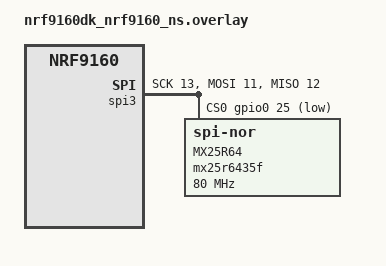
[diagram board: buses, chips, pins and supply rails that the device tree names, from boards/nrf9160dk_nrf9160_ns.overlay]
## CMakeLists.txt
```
#
# Copyright (c) 2021 Nordic Semiconductor ASA
#
# SPDX-License-Identifier: LicenseRef-Nordic-5-Clause
#

cmake_minimum_required(VERSION 3.20.0)

find_package(Zephyr REQUIRED HINTS $ENV{ZEPHYR_BASE})
project(full_modem_update)

# NORDIC SDK APP START
target_sources(app PRIVATE src/main.c)
target_sources(app PRIVATE ../common/src/update.c)
target_include_directories(app PRIVATE ../common/include)
# NORDIC SDK APP END
```

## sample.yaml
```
sample:
  name: HTTP full modem update sample
tests:
  samples.nrf9160.http_update.full_modem_update:
    build_only: true
    platform_allow: nrf9160dk_nrf9160_ns
    integration_platforms:
      - nrf9160dk_nrf9160_ns
    tags: ci_build
```

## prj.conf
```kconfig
#
# Copyright (c) 2021 Nordic Semiconductor ASA
#
# SPDX-License-Identifier: LicenseRef-Nordic-5-Clause
#
# General config
CONFIG_NCS_SAMPLES_DEFAULTS=y
CONFIG_REBOOT=y
CONFIG_NEWLIB_LIBC=y

# Network
CONFIG_NETWORKING=y
CONFIG_NET_SOCKETS=y
CONFIG_NET_NATIVE=n

# LTE link control
CONFIG_LTE_LINK_CONTROL=y
CONFIG_LTE_AUTO_INIT_AND_CONNECT=n

# libmodem
CONFIG_NRF_MODEM_LIB=y
CONFIG_NRF_MODEM_LIB_SYS_INIT=n

# Library for buttons and LEDs
CONFIG_DK_LIBRARY=y
CONFIG_DK_LIBRARY_INVERT_LEDS=n

# Heap and stacks
CONFIG_HEAP_MEM_POOL_SIZE=2048
CONFIG_MAIN_STACK_SIZE=8192
CONFIG_SYSTEM_WORKQUEUE_STACK_SIZE=2048

# Stream flash
CONFIG_STREAM_FLASH=y
CONFIG_STREAM_FLASH_ERASE=y
CONFIG_FLASH=y

# GPIO
CONFIG_GPIO=y

# FOTA library
CONFIG_FOTA_DOWNLOAD=y

# Download client
CONFIG_DOWNLOAD_CLIENT=y
CONFIG_DOWNLOAD_CLIENT_STACK_SIZE=4096

# DFU Target
CONFIG_DFU_TARGET=y
CONFIG_DFU_TARGET_STREAM=y
CONFIG_DFU_TARGET_FULL_MODEM=y

# Full modem firmware from external flash support
CONFIG_FMFU_FDEV=y
CONFIG_CDDL_GEN=y

# Modem key management
CONFIG_MODEM_KEY_MGMT=y

# Modem info is used to read the current version
CONFIG_MODEM_INFO=y

# Crypto
CONFIG_OBERON_BACKEND=y
CONFIG_NORDIC_SECURITY_BACKEND=y
# Disable all non-used crypto
CONFIG_NRF_SECURITY_RNG=n
CONFIG_MBEDTLS_AES_C=n
CONFIG_MBEDTLS_CHACHA20_C=n
CONFIG_MBEDTLS_POLY1305_C=n
CONFIG_MBEDTLS_ECP_C=n
CONFIG_MBEDTLS_RSA_C=n
CONFIG_MBEDTLS_DHM_C=n
CONFIG_MBEDTLS_SHA1_C=n
CONFIG_MBEDTLS_SHA384_C=n
CONFIG_MBEDTLS_SHA512_C=n
CONFIG_MBEDTLS_GCM_C=n
# This is the one we need
CONFIG_MBEDTLS_SHA256_C=y

CONFIG_DOWNLOAD_HOST="nrfconnectsdk.s3.eu-central-1.amazonaws.com"
CONFIG_DOWNLOAD_MODEM_0_FILE="fmfu_1.3.0.bin"
CONFIG_DOWNLOAD_MODEM_0_VERSION="mfw_nrf9160_1.3.0"

CONFIG_DOWNLOAD_MODEM_1_FILE="fmfu_1.3.1.bin"

# Prevalidation is not yet supported by the modem firmware, so skip it for now.
CONFIG_FMFU_FDEV_SKIP_PREVALIDATION=y
```

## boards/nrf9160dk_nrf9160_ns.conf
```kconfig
# Copyright (c) 2021 Nordic Semiconductor ASA
#
# SPDX-License-Identifier: LicenseRef-Nordic-5-Clause
#

CONFIG_SPI=y
CONFIG_SPI_NOR=y
```

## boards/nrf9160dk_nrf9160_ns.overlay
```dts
/*
 * Copyright (c) 2021 Nordic Semiconductor ASA
 *
 * SPDX-License-Identifier: LicenseRef-Nordic-5-Clause
 */

&spi3 {
	compatible = "nordic,nrf-spim";
	status = "okay";
	sck-pin = <13>;
	mosi-pin = <11>;
	miso-pin = <12>;
	cs-gpios = <&gpio0 25 GPIO_ACTIVE_LOW>;
	mx25r64: mx25r6435f@0 {
		compatible = "jedec,spi-nor";
		reg = <0>;
		spi-max-frequency = <80000000>;
		label = "MX25R64";
		jedec-id = [c2 28 17];
		size = <67108864>;
	};
};
```

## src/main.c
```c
/*
 * Copyright (c) 2021 Nordic Semiconductor ASA
 *
 * SPDX-License-Identifier: LicenseRef-Nordic-5-Clause
 */

#include <zephyr.h>
#include <modem/nrf_modem_lib.h>
#include <dfu/dfu_target_full_modem.h>
#include <net/fota_download.h>
#include <nrf_modem_full_dfu.h>
#include <modem/modem_info.h>
#include <dfu/fmfu_fdev.h>
#include <drivers/gpio.h>
#include <stdio.h>
#include <string.h>
#include <update.h>

/* We assume that modem version strings (not UUID) will not be more than this */
#define MAX_MODEM_VERSION_LEN 256
#define EXT_FLASH_DEVICE DT_LABEL(DT_INST(0, jedec_spi_nor))
#define SW1_PIN (DT_GPIO_PIN(DT_ALIAS(sw1), gpios))
#define SW1_FLAGS (DT_GPIO_FLAGS(DT_ALIAS(sw1), gpios))

static struct k_work fmfu_work;
static const struct device *gpiob;
static struct gpio_callback gpio_cb;
static const struct device *flash_dev;
static char modem_version[MAX_MODEM_VERSION_LEN];

/* Buffer used as temporary storage when downloading the modem firmware, and
 * when loading the modem firmware from external flash to the modem.
 */
#define FMFU_BUF_SIZE (0x1000)
static uint8_t fmfu_buf[FMFU_BUF_SIZE];

static void fmfu_button_irq_disable(void)
{
	gpio_pin_interrupt_configure(gpiob, SW1_PIN, GPIO_INT_DISABLE);
}

static void fmfu_button_irq_enable(void)
{
	gpio_pin_interrupt_configure(gpiob, SW1_PIN, GPIO_INT_EDGE_TO_ACTIVE);
}

void fmfu_button_pressed(const struct device *gpiob, struct gpio_callback *cb,
			 uint32_t pins)
{
	k_work_submit(&fmfu_work);
	fmfu_button_irq_disable();
}

static void apply_fmfu_from_ext_flash(bool valid_init)
{
	int err;

	printk("Applying full modem firmware update from external flash\n");

	if (valid_init) {
		err = nrf_modem_lib_shutdown();
		if (err != 0) {
			printk("nrf_modem_lib_shutdown() failed: %d\n", err);
			return;
		}
	}

	err = nrf_modem_lib_init(FULL_DFU_MODE);
	if (err != 0) {
		printk("nrf_modem_lib_init(FULL_DFU_MODE) failed: %d\n", err);
		return;
	}

	err = fmfu_fdev_load(fmfu_buf, sizeof(fmfu_buf), flash_dev, 0);
	if (err != 0) {
		printk("fmfu_fdev_load failed: %d\n", err);
		return;
	}

	err = nrf_modem_lib_shutdown();
	if (err != 0) {
		printk("nrf_modem_lib_shutdown() failed: %d\n", err);
		return;
	}

	err = nrf_modem_lib_init(NORMAL_MODE);
	if (err != 0) {
		printk("nrf_modem_lib_init() failed: %d\n", err);
		return;
	}

	printk("Modem firmware update completed\n");
}

static void fmfu_work_cb(struct k_work *work)
{
	ARG_UNUSED(work);

	apply_fmfu_from_ext_flash(true);

	modem_info_string_get(MODEM_INFO_FW_VERSION, modem_version,
			      MODEM_INFO_MAX_RESPONSE_SIZE);
	printk("Current modem firmware version: %s\n", modem_version);
}

static int button_init(void)
{
	int err;

	gpiob = device_get_binding(DT_GPIO_LABEL(DT_ALIAS(sw1), gpios));
	if (gpiob == 0) {
		printk("Nordic nRF GPIO driver was not found!\n");
		return 1;
	}
	err = gpio_pin_configure(gpiob, SW1_PIN, GPIO_INPUT | SW1_FLAGS);
	if (err == 0) {
		gpio_init_callback(&gpio_cb, fmfu_button_pressed, BIT(SW1_PIN));
		err = gpio_add_callback(gpiob, &gpio_cb);
	}
	if (err == 0) {
		fmfu_button_irq_enable();
	}
	if (err != 0) {
		printk("Unable to configure SW1 GPIO pin!\n");
		return 1;
	}
	return 0;
}

static bool current_version_is_0(void)
{
	return strncmp(modem_version, CONFIG_DOWNLOAD_MODEM_0_VERSION,
		       strlen(CONFIG_DOWNLOAD_MODEM_0_VERSION)) == 0;
}

static const char *get_file(void)
{
	const char *file = CONFIG_DOWNLOAD_MODEM_0_FILE;

	if (current_version_is_0()) {
		file = CONFIG_DOWNLOAD_MODEM_1_FILE;
	}

	return file;
}

void fota_dl_handler(const struct fota_download_evt *evt)
{
	switch (evt->id) {
	case FOTA_DOWNLOAD_EVT_ERROR:
		printk("Received error from fota_download\n");
		/* Fallthrough */
	case FOTA_DOWNLOAD_EVT_FINISHED:
		apply_fmfu_from_ext_flash(true);
		break;

	default:
		break;
	}
}

void update_start(void)
{
	int err;

	/* Functions for getting the host and file */
	err = fota_download_start(CONFIG_DOWNLOAD_HOST, get_file(), SEC_TAG,
				  0, 0);
	if (err != 0) {
		update_sample_stop();
		printk("fota_download_start() failed, err %d\n", err);
	}
}

static int num_leds(void)
{
	return current_version_is_0() ? 1 : 2;
}

void main(void)
{
	int err;

	printk("HTTP full modem update sample started\n");

	flash_dev = device_get_binding(EXT_FLASH_DEVICE);
	if (flash_dev == NULL) {
		printk("Failed to get flash device: %s\n", EXT_FLASH_DEVICE);
		return;
	}

	err = nrf_modem_lib_init(NORMAL_MODE);
	if (err) {
		printk("Failed to initialize modem lib, err: %d\n", err);
		printk("This could indicate that an earlier update failed\n");
		printk("Trying to apply modem update from ext flash\n");
		apply_fmfu_from_ext_flash(false);
	}

	k_work_init(&fmfu_work, fmfu_work_cb);

	err = button_init();
	if (err != 0) {
		printk("button_init() failed: %d\n", err);
		return;
	}

	err = fota_download_init(fota_dl_handler);
	if (err != 0) {
		printk("fota_download_init() failed, err %d\n", err);
		return;
	}

	const struct dfu_target_full_modem_params params = {
		.buf = fmfu_buf,
		.len = sizeof(fmfu_buf),
		.dev = &(struct dfu_target_fmfu_fdev){ .dev = flash_dev,
						       .offset = 0,
						       .size = 0 }
	};

	err = dfu_target_full_modem_cfg(&params);
	if (err != 0) {
		printk("dfu_target_full_modem_cfg failed: %d\n", err);
		return;
	}

	err = modem_info_init();
	if (err != 0) {
		printk("modem_info_init failed: %d\n", err);
		return;
	}

	modem_info_string_get(MODEM_INFO_FW_VERSION, modem_version,
			      MODEM_INFO_MAX_RESPONSE_SIZE);
	printk("Current modem firmware version: %s\n", modem_version);

	err = update_sample_init(&(struct update_sample_init_params){
					.update_start = update_start,
					.num_leds = num_leds()
				});
	if (err != 0) {
		printk("update_sample_init() failed, err %d\n", err);
		return;
	}

	printk("Press Button 1 to download and apply full modem firmware "
	       "update\n");
	printk("Press Button 2 to apply modem firmware update (no download)\n");
}
```
